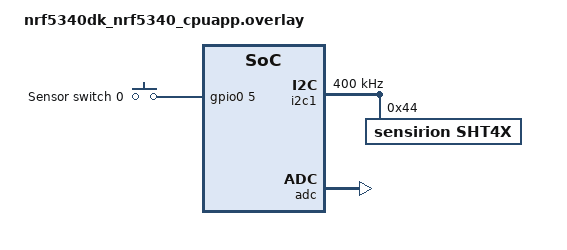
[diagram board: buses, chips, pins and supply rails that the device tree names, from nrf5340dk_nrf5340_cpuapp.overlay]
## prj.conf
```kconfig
CONFIG_BT=y
CONFIG_BT_PERIPHERAL=y
CONFIG_BT_SMP=y
CONFIG_TINYCRYPT=y
CONFIG_BT_DEVICE_NAME="Smart Cities Sensor Node"
CONFIG_BT_DIS=y
CONFIG_BT_DIS_PNP=n
CONFIG_BT_BAS=y
CONFIG_BT_DEVICE_APPEARANCE=768
CONFIG_ADC=y
CONFIG_I2C=y
CONFIG_LOG=n
CONFIG_PM=y
CONFIG_PM_DEVICE=y
```

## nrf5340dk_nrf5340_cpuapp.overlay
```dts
// To get started, press Ctrl+Space to bring up the completion menu and view the available nodes.

// You can also use the buttons in the sidebar to perform actions on nodes.
// Actions currently available include:

// * Enabling / disabling the node
// * Adding the bus to a bus
// * Removing the node
// * Connecting ADC channels

// For more help, browse the DeviceTree documentation at https://docs.zephyrproject.org/latest/guides/dts/index.html
// You can also visit the nRF DeviceTree extension documentation at https://nrfconnect.github.io/vscode-nrf-connect/devicetree/nrfdevicetree.html
&i2c1 {
    status = "okay";
    clock-frequency = <I2C_BITRATE_FAST>;
    sht4x@44 {
        status = "okay";
        compatible = "sensirion,sht4x";
        reg = <0x44>;
        repeatability = <2>;
    };

};

&adc {
	status = "okay";
};

/ {
	sensor_switches {
		compatible = "gpio-keys";
		sen0: sen_0 {
			gpios = <&gpio0 5 GPIO_ACTIVE_HIGH>;
            label = "Sensor switch 0";
		};
	};
};
    
```

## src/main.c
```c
/* main.c - Application main entry point */

/*
 * Copyright (c) 2016 Intel Corporation
 *
 * SPDX-License-Identifier: Apache-2.0
 */
#include <pm/pm.h>  
#include <device.h> 

#include <stdbool.h>
#include <zephyr/types.h>
#include <stddef.h>
#include <errno.h>
#include <zephyr/sys/printk.h>
#include <zephyr/sys/byteorder.h>

#include <zephyr/bluetooth/bluetooth.h>
#include <zephyr/bluetooth/hci.h>
#include <zephyr/bluetooth/conn.h>
#include <zephyr/bluetooth/uuid.h>
#include <zephyr/bluetooth/gatt.h>
#include <zephyr/bluetooth/services/bas.h>

#include <zephyr/zephyr.h>
#include <zephyr/device.h>
#include <zephyr/drivers/sensor.h>
#include <stdio.h>
#include <zephyr/drivers/sensor/sht4x.h>

#include <zephyr/kernel.h>
#include <drivers/adc.h>
#include <hal/nrf_saadc.h>
#include <zephyr/drivers/gpio.h>

#define SENSOR_1_NAME				"Temperature Sensor 1"
#define SENSOR_3_NAME				"Humidity Sensor 1"
#define SENSOR_4_NAME				"Soil Moisture Sensor"

/* Sensor Internal Update Interval [seconds] */
#define SENSOR_1_UPDATE_IVAL				60
#define SENSOR_3_UPDATE_IVAL				60
#define SENSOR_4_UPDATE_IVAL				60

/* ESS error definitions */
#define ESS_ERR_WRITE_REJECT				0x80
#define ESS_ERR_COND_NOT_SUPP				0x81

/* ESS Trigger Setting conditions */
#define ESS_TRIGGER_INACTIVE				0x00
#define ESS_FIXED_TIME_INTERVAL				0x01
#define ESS_NO_LESS_THAN_SPECIFIED_TIME		0x02
#define ESS_VALUE_CHANGED					0x03
#define ESS_LESS_THAN_REF_VALUE				0x04
#define ESS_LESS_OR_EQUAL_TO_REF_VALUE		0x05
#define ESS_GREATER_THAN_REF_VALUE			0x06
#define ESS_GREATER_OR_EQUAL_TO_REF_VALUE	0x07
#define ESS_EQUAL_TO_REF_VALUE				0x08
#define ESS_NOT_EQUAL_TO_REF_VALUE			0x09

#if !DT_HAS_COMPAT_STATUS_OKAY(sensirion_sht4x)
#error "No sensirion,sht4x compatible node found in the device tree"
#endif

#define ADC_DEVICE_NAME DT_ADC_0_NAME
#define ADC_RESOLUTION 12
#define ADC_GAIN ADC_GAIN_1_5
#define ADC_REFERENCE ADC_REF_INTERNAL
#define ADC_ACQUISITION_TIME ADC_ACQ_TIME(ADC_ACQ_TIME_MICROSECONDS, 40)
#define ADC_1ST_CHANNEL_ID 0
#define ADC_1ST_CHANNEL_INPUT NRF_SAADC_INPUT_AIN0

#define BUFFER_SIZE 8
static volatile uint16_t adc_sample_buffer[BUFFER_SIZE];
static uint32_t adc_sum = 0;
static uint16_t adc_val_bt;
const struct device *adc_dev;
static const int adc_gain_inv = 5;


static const struct adc_channel_cfg adc_channel_cfg = 
{
	.gain 			  = ADC_GAIN,
	.reference 		  = ADC_REFERENCE,
	.acquisition_time = ADC_ACQUISITION_TIME,
	.channel_id 	  = ADC_1ST_CHANNEL_ID,

	#if defined(CONFIG_ADC_CONFIGURABLE_INPUTS)
	.input_positive = 	ADC_1ST_CHANNEL_INPUT,
	#endif
};

const struct adc_sequence_options sequence_opts = 
{
	.interval_us 	 = 0,
	.callback 		 = NULL,
	.user_data 		 = NULL,
	.extra_samplings = 7,
};

static int adc_sample(int adc_gain_inv, uint16_t *adc_val_out)
{
	const struct adc_sequence sequence = 
	{
		.options     = &sequence_opts,
		.channels    = BIT(ADC_1ST_CHANNEL_ID),
		.buffer      = adc_sample_buffer,
		.buffer_size = sizeof(adc_sample_buffer),
		.resolution  = ADC_RESOLUTION,
	};

	if (!adc_dev) 
	{
		return -1;
	}

	int ret;
	ret = adc_read(adc_dev, &sequence);
	//printk("ADC read err: %d\n", ret);
	adc_sum = 0;
	
	//printk("ADC raw value: ");
	for (int i = 0; i < BUFFER_SIZE; i ++) 
	{
		printk("%d ", adc_sample_buffer[i]);
		adc_sum = adc_sum + adc_sample_buffer[i];
	}
	
	//printf("\n Measured voltage: ");
	int32_t adc_voltage = 0;
	adc_voltage = ((adc_sum * 750 * adc_gain_inv) >> 12);
	
	//printk("\n");
	*adc_val_out = (uint16_t)adc_voltage;
	return ret;
}

static ssize_t read_u16(struct bt_conn *conn, const struct bt_gatt_attr *attr,
			            void *buf, uint16_t len, uint16_t offset)
{
	const uint16_t *u16 = attr->user_data;
	uint16_t value = sys_cpu_to_le16(*u16);
	return bt_gatt_attr_read(conn, attr, buf, len, offset, &value, 
							 sizeof(value));
}

/* Environmental Sensing Service Declaration */
struct es_measurement 
{
	uint16_t flags; // Reserved for Future Use
	uint8_t  sampling_func;
	uint32_t meas_period;
	uint32_t update_interval;
	uint8_t  application;
	uint8_t  meas_uncertainty;
};

struct temperature_sensor 
{
	int16_t temp_value;
	int16_t lower_limit; // Valid range, min
	int16_t upper_limit; // Valid range, max
	uint8_t condition;   // ES trigger setting, Value Notification condition

	union 
	{
		uint32_t seconds;
		int16_t  ref_val; // Reference temperature
	};

	struct es_measurement meas;
};

struct humidity_sensor 
{
	int16_t humid_value;
	struct es_measurement meas;
};

static bool simulate_temp;

static struct temperature_sensor sensor_1 = 
{
		.temp_value 		   = 1200,
		.lower_limit 		   = -10000,
		.upper_limit           = 10000,
		.condition             = ESS_VALUE_CHANGED,
		.meas.sampling_func    = 0x00,
		.meas.meas_period      = 0x01,
		.meas.update_interval  = SENSOR_1_UPDATE_IVAL,
		.meas.application      = 0x1c,
		.meas.meas_uncertainty = 0x04,
};

static struct humidity_sensor sensor_3 = 
{
		.humid_value           = 6233,
		.meas.sampling_func    = 0x02,
		.meas.meas_period      = 0x0e10,
		.meas.update_interval  = SENSOR_3_UPDATE_IVAL,
		.meas.application      = 0x1c,
		.meas.meas_uncertainty = 0x01,
};


// Soil moisture sensor, read from ADC
static struct humidity_sensor sensor_4 = 
{
		.humid_value 		   = 6233,
		.meas.sampling_func    = 0x02,
		.meas.meas_period      = 0x0e10,
		.meas.update_interval  = SENSOR_4_UPDATE_IVAL,
		.meas.application      = 0x1c,
		.meas.meas_uncertainty = 0x01,
};

static void temp_ccc_cfg_changed(const struct bt_gatt_attr *attr,
				   				 uint16_t value)
{
	simulate_temp = value == BT_GATT_CCC_NOTIFY;
}

struct read_es_measurement_rp 
{
	uint16_t flags; /* Reserved for Future Use */
	uint8_t  sampling_function;
	uint8_t  measurement_period[3];
	uint8_t  update_interval[3];
	uint8_t  application;
	uint8_t  measurement_uncertainty;
} 
__packed;

static ssize_t read_es_measurement(struct bt_conn *conn, 
	    	   const struct bt_gatt_attr *attr, void *buf, 
			   uint16_t len, uint16_t offset)
{
	const struct es_measurement *value = attr->user_data;
	struct read_es_measurement_rp rsp =
	{
		.flags 			         = rsp.flags = sys_cpu_to_le16(value->flags),
		.sampling_function       = value->sampling_func,
		.measurement_period      = NULL,
		.update_interval         = NULL,
		.application             = value->application,
		.measurement_uncertainty = value->meas_uncertainty
	};

	sys_put_le24(value->meas_period, rsp.measurement_period);
	sys_put_le24(value->update_interval, rsp.update_interval);
	return bt_gatt_attr_read(conn, attr, buf, len, offset, &rsp, sizeof(rsp));
}

static ssize_t read_temp_valid_range(struct bt_conn *conn,
			   						 const struct bt_gatt_attr *attr, void *buf,
			   						 uint16_t len, uint16_t offset)
{
	const struct temperature_sensor *sensor = attr->user_data;
	uint16_t tmp[] = {sys_cpu_to_le16(sensor->lower_limit),
			          sys_cpu_to_le16(sensor->upper_limit)};

	return bt_gatt_attr_read(conn, attr, buf, len, offset, tmp, sizeof(tmp));
}

struct es_trigger_setting_seconds 
{
	uint8_t condition;
	uint8_t sec[60];
} 
__packed;

struct es_trigger_setting_reference {
	uint8_t condition;
	int16_t ref_val;
} 
__packed;

static ssize_t read_temp_trigger_setting (struct bt_conn *conn, 
			   const struct bt_gatt_attr *attr, void *buf, uint16_t len,
 			   uint16_t offset)
{
	const struct temperature_sensor *sensor = attr->user_data;

	switch (sensor->condition) 
	{
		/* Operand N/A */
		case ESS_TRIGGER_INACTIVE:
			__fallthrough;
		case ESS_VALUE_CHANGED:
			return bt_gatt_attr_read(conn, attr, buf, len, offset, 
				   &sensor->condition, sizeof(sensor->condition));

		/* Seconds */
		case ESS_FIXED_TIME_INTERVAL:
		__fallthrough;
		case ESS_NO_LESS_THAN_SPECIFIED_TIME: 
		{
			struct es_trigger_setting_seconds rp;
			rp.condition = sensor->condition;
			sys_put_le24(sensor->seconds, rp.sec);
			return bt_gatt_attr_read(conn, attr, buf, len, offset,
						 			 &rp, sizeof(rp));
		}

		/* Reference temperature */
		default: 
		{
			struct es_trigger_setting_reference rp;
			rp.condition = sensor->condition;
			rp.ref_val = sys_cpu_to_le16(sensor->ref_val);
			return bt_gatt_attr_read(conn, attr, buf, len, offset, &rp, 
									 sizeof(rp));
		}
	}
}

static bool check_condition(uint8_t condition, int16_t old_val, int16_t new_val,
			    int16_t ref_val)
{
	switch (condition) 
	{
		case ESS_TRIGGER_INACTIVE:
			return false;
		case ESS_FIXED_TIME_INTERVAL:
		case ESS_NO_LESS_THAN_SPECIFIED_TIME:
		/* TODO: Check time requirements */
			return false;
		case ESS_VALUE_CHANGED:
			return new_val != old_val;
		case ESS_LESS_THAN_REF_VALUE:
			return new_val < ref_val;
		case ESS_LESS_OR_EQUAL_TO_REF_VALUE:
			return new_val <= ref_val;
		case ESS_GREATER_THAN_REF_VALUE:
			return new_val > ref_val;
		case ESS_GREATER_OR_EQUAL_TO_REF_VALUE:
			return new_val >= ref_val;
		case ESS_EQUAL_TO_REF_VALUE:
			return new_val == ref_val;
		case ESS_NOT_EQUAL_TO_REF_VALUE:
			return new_val != ref_val;
	default:
		return false;
	}
}

static void update_temperature(struct bt_conn *conn,
			       			   const struct bt_gatt_attr *chrc, double value,
			       			   struct temperature_sensor *sensor)
{
	bool notify = check_condition(sensor->condition, sensor->temp_value, value,
				      			  sensor->ref_val);

	/* Update temperature value */
	sensor->temp_value = value;

	/* Trigger notification if conditions are met */
	if (notify) 
	{
		value = sys_cpu_to_le16(sensor->temp_value);
		bt_gatt_notify(conn, chrc, &value, sizeof(value));
	}
}

BT_GATT_SERVICE_DEFINE
(   
	ess_svc,
	BT_GATT_PRIMARY_SERVICE(BT_UUID_ESS),

	/* Temperature Sensor 1 */
	BT_GATT_CHARACTERISTIC(BT_UUID_TEMPERATURE, 
	 					   BT_GATT_CHRC_READ | BT_GATT_CHRC_NOTIFY,
			       		   BT_GATT_PERM_READ, read_u16, NULL,
						   &sensor_1.temp_value),

	BT_GATT_DESCRIPTOR(BT_UUID_ES_MEASUREMENT, BT_GATT_PERM_READ,
			   		   read_es_measurement, NULL, &sensor_1.meas),

	BT_GATT_CUD(SENSOR_1_NAME, BT_GATT_PERM_READ),

	BT_GATT_DESCRIPTOR(BT_UUID_VALID_RANGE, BT_GATT_PERM_READ,
			   		   read_temp_valid_range, NULL, &sensor_1),

	BT_GATT_DESCRIPTOR(BT_UUID_ES_TRIGGER_SETTING, BT_GATT_PERM_READ,
					   read_temp_trigger_setting, NULL, &sensor_1),

	BT_GATT_CCC(temp_ccc_cfg_changed,
		        BT_GATT_PERM_READ | BT_GATT_PERM_WRITE),

	/* Humidity Sensor */
	BT_GATT_CHARACTERISTIC(BT_UUID_HUMIDITY, 
						   BT_GATT_CHRC_READ | BT_GATT_CHRC_NOTIFY,
			               BT_GATT_PERM_READ, read_u16, NULL,
						   &sensor_3.humid_value),

	BT_GATT_CUD(SENSOR_3_NAME, BT_GATT_PERM_READ),

	BT_GATT_DESCRIPTOR(BT_UUID_ES_MEASUREMENT, BT_GATT_PERM_READ,
			   		   read_es_measurement, NULL, &sensor_3.meas),

	/* Soil Moisture Sensor */
	BT_GATT_CHARACTERISTIC(BT_UUID_HUMIDITY, 
						   BT_GATT_CHRC_READ | BT_GATT_CHRC_NOTIFY,
			               BT_GATT_PERM_READ, read_u16, NULL, 
						   &sensor_4.humid_value),

	BT_GATT_CUD(SENSOR_3_NAME, BT_GATT_PERM_READ),

	BT_GATT_DESCRIPTOR(BT_UUID_ES_MEASUREMENT, BT_GATT_PERM_READ,
			   		   read_es_measurement, NULL, &sensor_4.meas), 
);

static const struct bt_data ad[] = 
{
	BT_DATA_BYTES(BT_DATA_FLAGS, (BT_LE_AD_GENERAL | BT_LE_AD_NO_BREDR)),
	BT_DATA_BYTES(BT_DATA_GAP_APPEARANCE, 0x00, 0x03),
	BT_DATA_BYTES(BT_DATA_UUID16_ALL,
		          BT_UUID_16_ENCODE(BT_UUID_ESS_VAL)),
};

static void connected(struct bt_conn *conn, uint8_t err)
{
	if (err!=0) 
	{
		return -1;
	} 
	
}

static void disconnected(struct bt_conn *conn, uint8_t reason)
{
	//printk("Disconnected (reason 0x%02x)\n", reason);
}

BT_CONN_CB_DEFINE(conn_callbacks) = 
{
	.connected    = connected,
	.disconnected = disconnected,
};

static void bt_ready(void)
{
	int err;

	//printk("Bluetooth initialized\n");

	err = bt_le_adv_start(BT_LE_ADV_CONN_NAME, ad, ARRAY_SIZE(ad), NULL, 0);
	if (err) {
		//printk("Advertising failed to start (err %d)\n", err);
		return;
	}

	printk("Advertising successfully started\n");
}

static void auth_passkey_display(struct bt_conn *conn, unsigned int passkey)
{
	char addr[BT_ADDR_LE_STR_LEN];
	bt_addr_le_to_str(bt_conn_get_dst(conn), addr, sizeof(addr));

	//printk("Passkey for %s: %06u\n", addr, passkey);
}

static void auth_cancel(struct bt_conn *conn)
{
	char addr[BT_ADDR_LE_STR_LEN];
	bt_addr_le_to_str(bt_conn_get_dst(conn), addr, sizeof(addr));
	//printk("Pairing cancelled: %s\n", addr);
}

static struct bt_conn_auth_cb auth_cb_display = 
{
	.passkey_display = auth_passkey_display,
	.passkey_entry   = NULL,
	.cancel          = auth_cancel,
};

void main(void)
{
	int err;
	struct gpio_dt_spec gpio_dev = GPIO_DT_SPEC_GET(DT_NODELABEL(sen0), gpios);
	if (!device_is_ready(gpio_dev.port)) 
	{
		return -1;
	}

	gpio_pin_configure_dt(&gpio_dev, GPIO_OUTPUT | GPIO_ACTIVE_HIGH);
	err = bt_enable(NULL);

	if (err) 
	{
		return -1;
	}

	bt_ready();
	bt_conn_auth_cb_register(&auth_cb_display);
	const struct device *sht = DEVICE_DT_GET_ANY(sensirion_sht4x);
	volatile struct sensor_value hum;
	volatile struct sensor_value temp;
	adc_dev = DEVICE_DT_GET(DT_NODELABEL(adc));

	if (!adc_dev) 
	{
		return -1;
	}

	err = adc_channel_setup(adc_dev, &adc_channel_cfg);

	if (err!=0) 
	{
		return -1;
	}	
	
	while (true) 
	{
		gpio_pin_set_dt(&gpio_dev, 1);
		k_sleep(K_MSEC(100));
		if (!device_is_ready(sht)) 
		{
			return;
		}

		#if CONFIG_APP_USE_HEATER
		struct sensor_value heater_p;
		struct sensor_value heater_d;

		heater_p.val1 = CONFIG_APP_HEATER_PULSE_POWER;
		heater_d.val1 = CONFIG_APP_HEATER_PULSE_DURATION;
		sensor_attr_set(sht, SENSOR_CHAN_ALL,
		                SENSOR_ATTR_SHT4X_HEATER_POWER, &heater_p);
		sensor_attr_set(sht, SENSOR_CHAN_ALL,
					    SENSOR_ATTR_SHT4X_HEATER_DURATION, &heater_d);
		#endif

		while (sensor_sample_fetch(sht)) 
		{
			int volatile dummy = 0;
		}

		sensor_channel_get(sht, SENSOR_CHAN_AMBIENT_TEMP, &temp);
		sensor_channel_get(sht, SENSOR_CHAN_HUMIDITY, &hum);

		#if CONFIG_APP_USE_HEATER
		/*
		 * Conditions in which it makes sense to activate the heater
		 * are application/environment specific.
		 *
		 * The heater should not be used above SHT4X_HEATER_MAX_TEMP (65 °C)
		 * as stated in the datasheet.
		 *
		 * The temperature data will not be updated here for obvious reasons.
		 **/
		if (hum.val1 > CONFIG_APP_HEATER_HUMIDITY_THRESH && 
		    temp.val1 < SHT4X_HEATER_MAX_TEMP) 
		{
			printf("Activating heater.\n");

			if (sht4x_fetch_with_heater(sht)) 
			{
				printf("Failed to fetch sample from SHT4X device\n");
				return;
			}

			sensor_channel_get(sht, SENSOR_CHAN_HUMIDITY, &hum);
		}
		#endif

		err = adc_sample(adc_gain_inv, &adc_val_bt);
		if (err!=0) 
		{
			return -1;
		}
		printk("TEMP RAW: %d", temp);
		int16_t bt_tmp_val = (int16_t)100*(sensor_value_to_double(&temp));
		int16_t bt_hum_val = (int16_t)100*(sensor_value_to_double(&hum));
		update_temperature(NULL, &ess_svc.attrs[2], bt_tmp_val, &sensor_1);
		sensor_3.humid_value = bt_hum_val;
		sensor_4.humid_value = (int16_t)(adc_val_bt / 3);
		gpio_pin_set_dt(&gpio_dev, 0);

		k_sleep(K_SECONDS(60));
	}
}
```
